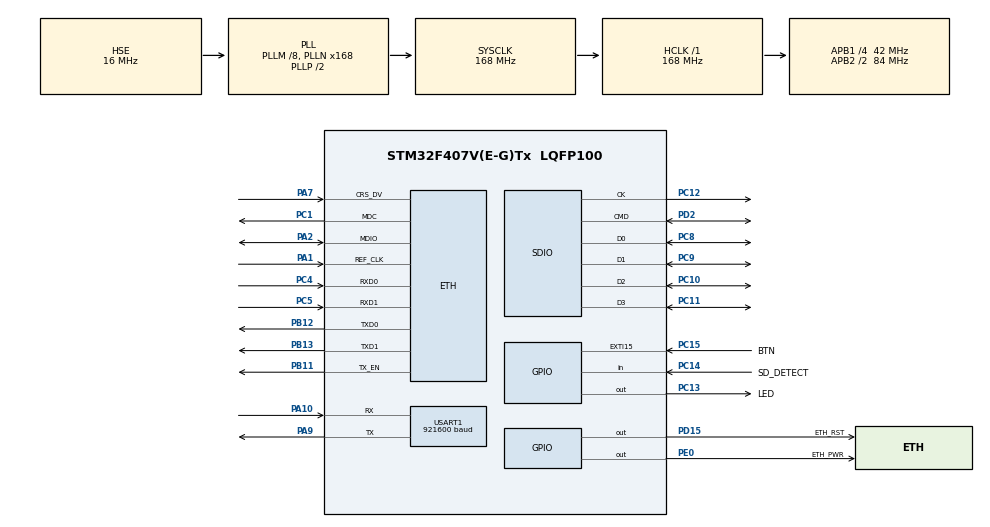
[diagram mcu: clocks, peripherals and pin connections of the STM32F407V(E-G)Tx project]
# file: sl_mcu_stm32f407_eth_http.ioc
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Dma.Request0=SDIO_RX
Dma.Request1=SDIO_TX
Dma.SDIO_RX.0.Direction=DMA_PERIPH_TO_MEMORY
Dma.SDIO_RX.0.FIFOMode=DMA_FIFOMODE_ENABLE
Dma.SDIO_RX.0.FIFOThreshold=DMA_FIFO_THRESHOLD_FULL
Dma.SDIO_RX.0.Instance=DMA2_Stream3
Dma.SDIO_RX.0.MemBurst=DMA_MBURST_INC4
Dma.SDIO_RX.0.MemDataAlignment=DMA_MDATAALIGN_WORD
Dma.SDIO_RX.0.MemInc=DMA_MINC_ENABLE
Dma.SDIO_RX.0.Mode=DMA_PFCTRL
Dma.SDIO_RX.0.PeriphBurst=DMA_PBURST_INC4
Dma.SDIO_RX.0.PeriphDataAlignment=DMA_PDATAALIGN_WORD
Dma.SDIO_RX.0.PeriphInc=DMA_PINC_DISABLE
Dma.SDIO_RX.0.Priority=DMA_PRIORITY_LOW
Dma.SDIO_TX.1.Direction=DMA_MEMORY_TO_PERIPH
Dma.SDIO_TX.1.FIFOMode=DMA_FIFOMODE_ENABLE
Dma.SDIO_TX.1.FIFOThreshold=DMA_FIFO_THRESHOLD_FULL
Dma.SDIO_TX.1.Instance=DMA2_Stream6
Dma.SDIO_TX.1.MemBurst=DMA_MBURST_INC4
Dma.SDIO_TX.1.MemDataAlignment=DMA_MDATAALIGN_WORD
Dma.SDIO_TX.1.MemInc=DMA_MINC_ENABLE
Dma.SDIO_TX.1.Mode=DMA_PFCTRL
Dma.SDIO_TX.1.PeriphBurst=DMA_PBURST_INC4
Dma.SDIO_TX.1.PeriphDataAlignment=DMA_PDATAALIGN_WORD
Dma.SDIO_TX.1.PeriphInc=DMA_PINC_DISABLE
Dma.SDIO_TX.1.Priority=DMA_PRIORITY_LOW
ETH.MediaInterface=HAL_ETH_RMII_MODE
FATFS.BSP.number=1
FATFS.USE_DMA_CODE_SD=1
FATFS._FS_EXFAT=1
FATFS._FS_LOCK=4
FATFS._USE_CHMOD=1
FATFS._USE_EXPAND=1
FATFS._USE_FIND=1
FATFS._USE_FORWARD=1
FATFS._USE_LABEL=1
FATFS._USE_LFN=1
FATFS0.BSP.STBoard=false
FATFS0.BSP.api=Unknown
FATFS0.BSP.instance=PC14-OSC32_IN
FATFS0.BSP.ip=GPIO
FATFS0.BSP.mode=Input
FATFS0.BSP.name=Detect_SDIO
FATFS0.BSP.solution=PC14-OSC32_IN
LWIP.API_LIB_DEBUG=LWIP_DBG_OFF
LWIP.API_MSG_DEBUG=LWIP_DBG_OFF
LWIP.AUTOIP_DEBUG=LWIP_DBG_OFF
LWIP.BSP.number=1
LWIP.DHCP6_DEBUG=LWIP_DBG_OFF
LWIP.DHCP_DEBUG=LWIP_DBG_OFF
LWIP.DNS_DEBUG=LWIP_DBG_OFF
LWIP.ETHARP_DEBUG=LWIP_DBG_OFF
LWIP.HTTPD_DEBUG=LWIP_DBG_ON
LWIP.HTTPD_DEBUG_TIMING=LWIP_DBG_ON
LWIP.HTTPD_ENABLE_HTTPS=0
LWIP.HTTPD_USE_CUSTOM_FSDATA=1
LWIP.ICMP_DEBUG=LWIP_DBG_OFF
LWIP.IGMP_DEBUG=LWIP_DBG_OFF
LWIP.INET_DEBUG=LWIP_DBG_ON
LWIP.IP6_DEBUG=LWIP_DBG_OFF
LWIP.IP_DEBUG=LWIP_DBG_ON
LWIP.IP_REASS_DEBUG=LWIP_DBG_OFF
LWIP.LWIP_DBG_TYPES_ON=LWIP_DBG_OFF
LWIP.LWIP_DNS=1
LWIP.LWIP_HTTPD=1
LWIP.LWIP_HTTPD_CUSTOM_FILES=1
LWIP.LWIP_HTTPD_DYNAMIC_FILE_READ=1
LWIP.LWIP_HTTPD_DYNAMIC_HEADERS=0
LWIP.LWIP_HTTPD_REQ_QUEUELEN=10
LWIP.LWIP_HTTPD_SSI=1
LWIP.LWIP_HTTPD_SSI_INCLUDE_TAG=0
LWIP.LWIP_HTTPD_SUPPORT_EXTSTATUS=1
LWIP.LWIP_HTTPD_SUPPORT_V09=0
LWIP.LWIP_IPV6=0
LWIP.LWIP_NETIF_HOSTNAME=1
LWIP.LWIP_SINGLE_NETIF=1
LWIP.LWIP_TESTMODE=0
LWIP.MDNS_DEBUG=LWIP_DBG_OFF
LWIP.MEMP_DEBUG=LWIP_DBG_OFF
LWIP.MEMP_NUM_TCP_PCB=10
LWIP.MEM_DEBUG=LWIP_DBG_OFF
LWIP.NETIF_DEBUG=LWIP_DBG_OFF
LWIP.PBUF_DEBUG=LWIP_DBG_OFF
LWIP.PPP_DEBUG=LWIP_DBG_OFF
LWIP.RAW_DEBUG=LWIP_DBG_OFF
LWIP.SLIP_DEBUG=LWIP_DBG_OFF
LWIP.SMTP_DEBUG=LWIP_DBG_OFF
LWIP.SNMP_DEBUG=LWIP_DBG_OFF
LWIP.SNMP_MIB_DEBUG=LWIP_DBG_OFF
LWIP.SNTP_DEBUG=LWIP_DBG_OFF
LWIP.SOCKETS_DEBUG=LWIP_DBG_ON
LWIP.SYS_DEBUG=LWIP_DBG_ON
LWIP.TCPIP_DEBUG=LWIP_DBG_ON
LWIP.TCP_CWND_DEBUG=LWIP_DBG_OFF
LWIP.TCP_DEBUG=LWIP_DBG_ON
LWIP.TCP_FR_DEBUG=LWIP_DBG_OFF
LWIP.TCP_INPUT_DEBUG=LWIP_DBG_ON
LWIP.TCP_OUTPUT_DEBUG=LWIP_DBG_OFF
LWIP.TCP_QLEN_DEBUG=LWIP_DBG_OFF
LWIP.TCP_RST_DEBUG=LWIP_DBG_OFF
LWIP.TCP_RTO_DEBUG=LWIP_DBG_OFF
LWIP.TCP_WND_DEBUG=LWIP_DBG_OFF
LWIP.TFTP_DEBUG=LWIP_DBG_OFF
LWIP.TIMERS_DEBUG=LWIP_DBG_OFF
LWIP.UDP_DEBUG=LWIP_DBG_OFF
LWIP.Version=v2.1.2_Cube
LWIP0.BSP.STBoard=false
LWIP0.BSP.api=BSP_COMPONENT_DRIVER
LWIP0.BSP.component=LAN8742
LWIP0.BSP.instance=LAN8742
LWIP0.BSP.name=Driver_PHY
LWIP0.BSP.semaphore=S_LAN8742
LWIP0.BSP.solution=LAN8742
Mcu.Family=STM32F4
Mcu.Name=STM32F407V(E-G)Tx
Mcu.Package=LQFP100
NVIC.DMA2_Stream3_IRQn=true\:0\:0\:false\:false\:true\:false\:true\:true
NVIC.DMA2_Stream6_IRQn=true\:0\:0\:false\:false\:true\:false\:true\:true
NVIC.ETH_IRQn=true\:0\:0\:false\:false\:true\:true\:true\:true
NVIC.EXTI15_10_IRQn=true\:0\:0\:false\:false\:true\:true\:true\:true
NVIC.PriorityGroup=NVIC_PRIORITYGROUP_4
NVIC.SDIO_IRQn=true\:0\:0\:false\:false\:true\:true\:true\:true
PA1.Mode=RMII
PA1.Signal=ETH_REF_CLK
PA10.Mode=Asynchronous
PA10.Signal=USART1_RX
PA13.Mode=Trace_Asynchronous_SW
PA13.Signal=SYS_JTMS-SWDIO
PA14.Mode=Trace_Asynchronous_SW
PA14.Signal=SYS_JTCK-SWCLK
PA2.GPIO_PuPd=GPIO_PULLUP
PA2.Mode=RMII
PA2.Signal=ETH_MDIO
PA7.Mode=RMII
PA7.Signal=ETH_CRS_DV
PA9.Mode=Asynchronous
PA9.Signal=USART1_TX
PB11.Mode=RMII
PB11.Signal=ETH_TX_EN
PB12.Mode=RMII
PB12.Signal=ETH_TXD0
PB13.Mode=RMII
PB13.Signal=ETH_TXD1
PB3.Mode=Trace_Asynchronous_SW
PB3.Signal=SYS_JTDO-SWO
PC1.Mode=RMII
PC1.Signal=ETH_MDC
PC10.Mode=SD_4_bits_Wide_bus
PC10.Signal=SDIO_D2
PC11.Mode=SD_4_bits_Wide_bus
PC11.Signal=SDIO_D3
PC12.Mode=SD_4_bits_Wide_bus
PC12.Signal=SDIO_CK
PC13-ANTI_TAMP.GPIO_Label=LED
PC13-ANTI_TAMP.GPIO_ModeDefaultOutputPP=GPIO_MODE_OUTPUT_OD
PC13-ANTI_TAMP.GPIO_PuPd=GPIO_NOPULL
PC13-ANTI_TAMP.PinState=GPIO_PIN_SET
PC13-ANTI_TAMP.Signal=GPIO_Output
PC14-OSC32_IN.GPIO_Label=SD_DETECT
PC14-OSC32_IN.GPIO_PuPd=GPIO_PULLUP
PC14-OSC32_IN.Signal=GPIO_Input
PC15-OSC32_OUT.GPIO_Label=BTN
PC15-OSC32_OUT.Signal=GPXTI15
PC4.Mode=RMII
PC4.Signal=ETH_RXD0
PC5.Mode=RMII
PC5.Signal=ETH_RXD1
PC8.Mode=SD_4_bits_Wide_bus
PC8.Signal=SDIO_D0
PC9.Mode=SD_4_bits_Wide_bus
PC9.Signal=SDIO_D1
PD15.GPIO_Label=ETH_RST
PD15.Signal=GPIO_Output
PD2.Mode=SD_4_bits_Wide_bus
PD2.Signal=SDIO_CMD
PE0.GPIO_Label=ETH_PWR
PE0.PinState=GPIO_PIN_RESET
PE0.Signal=GPIO_Output
PH0-OSC_IN.Mode=HSE-External-Oscillator
PH0-OSC_IN.Signal=RCC_OSC_IN
PH1-OSC_OUT.Mode=HSE-External-Oscillator
PH1-OSC_OUT.Signal=RCC_OSC_OUT
ProjectManager.HeapSize=0x200
ProjectManager.StackSize=0x400
ProjectManager.TargetToolchain=STM32CubeIDE
RCC.48MHZClocksFreq_Value=48000000
RCC.AHBFreq_Value=168000000
RCC.APB1CLKDivider=RCC_HCLK_DIV4
RCC.APB1Freq_Value=42000000
RCC.APB1TimFreq_Value=84000000
RCC.APB2CLKDivider=RCC_HCLK_DIV2
RCC.APB2Freq_Value=84000000
RCC.APB2TimFreq_Value=168000000
RCC.CortexFreq_Value=168000000
RCC.HCLKFreq_Value=168000000
RCC.HSE_VALUE=16000000
RCC.HSI_VALUE=16000000
RCC.LSE_VALUE=32768
RCC.PLLM=8
RCC.PLLN=168
RCC.PLLQ=7
RCC.PLLSourceVirtual=RCC_PLLSOURCE_HSE
RCC.SYSCLKFreq_VALUE=168000000
RCC.SYSCLKSource=RCC_SYSCLKSOURCE_PLLCLK
RCC.VCOOutputFreq_Value=336000000
SDIO.ClockDiv=1
USART1.BaudRate=921600
USART1.OverSampling=UART_OVERSAMPLING_8
USART1.VirtualMode=VM_ASYNC
VP_FATFS_VS_SDIO.Mode=SDIO
VP_LWIP_VS_Enabled.Mode=Enabled
board=custom

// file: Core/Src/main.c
/* USER CODE BEGIN Header */
/**
 ******************************************************************************
 * @file           : main.c
 * @brief          : Main program body
 ******************************************************************************
 * @attention
 *
 * Copyright (c) 2026 STM32World <lth@stm32world.com>
 * All rights reserved.
 *
 * This software is licensed under terms that can be found in the LICENSE file
 * in the root directory of this software component.
 * If no LICENSE file comes with this software, it is provided AS-IS.
 *
 ******************************************************************************
 */
/* USER CODE END Header */
#include "main.h"
#include "fatfs.h"

/* USER CODE BEGIN Includes */
#include <stdio.h>
#include <string.h>
#include "lwip.h"
#include "lwip/apps/httpd.h"
/* USER CODE END Includes */

SD_HandleTypeDef hsd;
DMA_HandleTypeDef hdma_sdio_rx;
DMA_HandleTypeDef hdma_sdio_tx;

UART_HandleTypeDef huart1;

/* USER CODE BEGIN PV */
const char total_uptime_filename[] = "uptime.dat";
const char tick_filename[] = "tick.txt";
const char big_filename[] = "big.dat";
const char boot_filename[] = "boot.dat";
uint32_t total_uptime;
uint32_t boot_count;
/* USER CODE END PV */

void SystemClock_Config(void);
static void MX_GPIO_Init(void);
static void MX_DMA_Init(void);
static void MX_USART1_UART_Init(void);
static void MX_SDIO_SD_Init(void);

/* USER CODE BEGIN 0 */

// Send printf to uart1
int __io_putchar(int ch) {
    if (ch == '\n') {
        HAL_UART_Transmit(&huart1, (uint8_t*) "\r", 1, HAL_MAX_DELAY);
    }
    if (HAL_UART_Transmit(&huart1, (uint8_t*) &ch, 1, HAL_MAX_DELAY) != HAL_OK) {
        return -1;
    }
    return ch;
}

uint8_t BSP_SD_IsDetected(void)
{
    __IO uint8_t status = SD_PRESENT;

    if (HAL_GPIO_ReadPin(SD_DETECT_GPIO_PORT, SD_DETECT_PIN) != GPIO_PIN_RESET) {
        status = SD_NOT_PRESENT;
    }

    return status;
}

void init_eth_phy() {

    // Power down and reset all
    HAL_GPIO_WritePin(ETH_PWR_GPIO_Port, ETH_PWR_Pin, GPIO_PIN_RESET);
    HAL_GPIO_WritePin(ETH_RST_GPIO_Port, ETH_RST_Pin, GPIO_PIN_RESET);
    HAL_Delay(10);

    // Power PHY up - reset is still low
    HAL_GPIO_WritePin(ETH_PWR_GPIO_Port, ETH_PWR_Pin, GPIO_PIN_SET);

    // Wait 1 ms
    HAL_Delay(1);

    // Drive RST pin high
    HAL_GPIO_WritePin(ETH_RST_GPIO_Port, ETH_RST_Pin, GPIO_PIN_SET);

}

/* USER CODE END 0 */

int main(void)
{

    /* MCU Configuration--------------------------------------------------------*/

    /* Reset of all peripherals, Initializes the Flash interface and the Systick. */
    HAL_Init();

    /* Configure the system clock */
    SystemClock_Config();

    /* Initialize all configured peripherals */
    MX_GPIO_Init();
    MX_DMA_Init();
    MX_USART1_UART_Init();
    MX_SDIO_SD_Init();
    MX_FATFS_Init();
    /* USER CODE BEGIN 2 */

    printf("\n\n\n--------\nStarting Ethernet Test\n");

    printf("SD Card Information:\r\n");
    printf("Block size  : %lu\r\n", hsd.SdCard.BlockSize);
    printf("Block nmbr  : %lu\r\n", hsd.SdCard.BlockNbr);
    printf("Card size   : %lu\r\n", (hsd.SdCard.BlockSize * hsd.SdCard.BlockNbr) / 1000);
    printf("Card version: %lu\r\n", hsd.SdCard.CardVersion);

    init_eth_phy();

    HAL_Delay(2000); // Wait a bit to make sure PHY have negotiated on ethernet

    printf("Initializing LwIP Stack...\n");

    // 3. Manually call the LwIP setup function now that the bus is clear
    MX_LWIP_Init();

    // 4. Force LwIP to treat the link as active
    extern struct netif gnetif;
    netif_set_link_up(&gnetif);
    netif_set_up(&gnetif);

    if (netif_is_up(&gnetif)) {
        printf("LwIP Interface: UP\n");
    } else {
        printf("LwIP Interface: DOWN\n");
    }

    uint32_t wbytes, rbytes;

    if (f_mount(&SDFatFS, (TCHAR const*) SDPath, 0) != FR_OK) {
        printf("Unable to mount disk\r\n");
        Error_Handler();
    } else {
        printf("SD Mounted! Initializing HTTPD Server...\r\n");
        httpd_init(); // Starts listening on Port 80 automatically
    }

    if (f_open(&SDFile, boot_filename, FA_OPEN_EXISTING | FA_READ) == FR_OK) {
        if (f_read(&SDFile, &boot_count, sizeof(boot_count), (void*) &rbytes) == FR_OK) {
            printf("Boot count = %lu\r\n", boot_count);
            f_close(&SDFile);

            ++boot_count;
            if (f_open(&SDFile, boot_filename, FA_OPEN_EXISTING | FA_WRITE) == FR_OK) {
                if (f_write(&SDFile, &boot_count, sizeof(boot_count), (void*) &wbytes) != FR_OK) {
                    printf("Unable to write\r\n");
                }
                f_close(&SDFile);
            } else {
                printf("Unable to open file\r\n");
            }

        } else {
            printf("Unable to read\r\n");
            Error_Handler();
        }
    } else {
        // File did not exist - let's create it
        if (f_open(&SDFile, boot_filename, FA_CREATE_ALWAYS | FA_WRITE) == FR_OK) {
            boot_count = 1;
            if (f_write(&SDFile, &boot_count, sizeof(boot_count), (void*) &wbytes) == FR_OK) {
                printf("File %s created\r\n", boot_filename);
                f_close(&SDFile);
            } else {
                printf("Unable to write\r\n");
                Error_Handler();
            }
        } else {
            printf("Unable to create\r\n");
            Error_Handler();
        }
    }

    if (f_open(&SDFile, total_uptime_filename, FA_OPEN_EXISTING | FA_READ) == FR_OK) {
        if (f_read(&SDFile, &total_uptime, sizeof(total_uptime), (void*) &rbytes) == FR_OK) {
            printf("Total uptime = %lu\r\n", total_uptime);
            f_close(&SDFile);
        } else {
            printf("Unable to read\r\n");
            Error_Handler();
        }
    } else {
        // File did not exist - let's create it
        if (f_open(&SDFile, total_uptime_filename, FA_CREATE_ALWAYS | FA_WRITE) == FR_OK) {
            if (f_write(&SDFile, &total_uptime, sizeof(total_uptime), (void*) &wbytes) == FR_OK) {
                printf("File %s created\r\n", total_uptime_filename);
                f_close(&SDFile);
            } else {
                printf("Unable to write\r\n");
                Error_Handler();
            }
        } else {
            printf("Unable to create\r\n");
            Error_Handler();
        }
    }

    // Create tick file always
    if (f_open(&SDFile, tick_filename, FA_CREATE_ALWAYS | FA_WRITE) == FR_OK) {
        f_close(&SDFile);
    }

    /* USER CODE END 2 */

    /* Infinite loop */
    /* USER CODE BEGIN WHILE */

    uint32_t now = 0, loop_cnt = 0, next_blink = 500, next_tick = 1000;

    while (1) {

        now = uwTick;

        if (now >= next_blink) {
            HAL_GPIO_TogglePin(LED_GPIO_Port, LED_Pin);
            next_blink += 500;
        }

        if (now >= next_tick) {

            ++total_uptime;

            // Extract the IP address bytes from the gnetif structure
            uint8_t ip0 = ip4_addr1_16(netif_ip_addr4(&gnetif));
            uint8_t ip1 = ip4_addr2_16(netif_ip_addr4(&gnetif));
            uint8_t ip2 = ip4_addr3_16(netif_ip_addr4(&gnetif));
            uint8_t ip3 = ip4_addr4_16(netif_ip_addr4(&gnetif));

            char s[128];

            sprintf(s, "Tick %lu (loop = %lu total = %lu IP = %d.%d.%d.%d)\r\n", now / 1000, loop_cnt, total_uptime, ip0, ip1, ip2, ip3);

            printf("%s", s);

            // Write tick line to file
            if (f_open(&SDFile, tick_filename, FA_OPEN_APPEND | FA_WRITE) == FR_OK) {
                if (f_write(&SDFile, &s, strlen(s) + 1, (void*) &wbytes) != FR_OK) {
                    printf("Unable to write\r\n");
                }
                f_close(&SDFile);
            } else {
                printf("Unable to open tick file\r\n");
            }

            // Update the total uptime file
            if (f_open(&SDFile, total_uptime_filename, FA_OPEN_EXISTING | FA_WRITE) == FR_OK) {
                if (f_write(&SDFile, &total_uptime, sizeof(total_uptime), (void*) &wbytes) != FR_OK) {
                    printf("Unable to write\r\n");
                }
                f_close(&SDFile);
            } else {
                printf("Unable to open file\r\n");
            }

            loop_cnt = 0;
            next_tick = now + 1000;

        }

        MX_LWIP_Process();

        ++loop_cnt;

        /* USER CODE END WHILE */

    }
}

void SystemClock_Config(void)
{
    RCC_OscInitTypeDef RCC_OscInitStruct = { 0 };
    RCC_ClkInitTypeDef RCC_ClkInitStruct = { 0 };

    /** Configure the main internal regulator output voltage
     */
    __HAL_RCC_PWR_CLK_ENABLE();
    __HAL_PWR_VOLTAGESCALING_CONFIG(PWR_REGULATOR_VOLTAGE_SCALE1);

    /** Initializes the RCC Oscillators according to the specified parameters
     * in the RCC_OscInitTypeDef structure.
     */
    RCC_OscInitStruct.OscillatorType = RCC_OSCILLATORTYPE_HSE;
    RCC_OscInitStruct.HSEState = RCC_HSE_ON;
    RCC_OscInitStruct.PLL.PLLState = RCC_PLL_ON;
    RCC_OscInitStruct.PLL.PLLSource = RCC_PLLSOURCE_HSE;
    RCC_OscInitStruct.PLL.PLLM = 8;
    RCC_OscInitStruct.PLL.PLLN = 168;
    RCC_OscInitStruct.PLL.PLLP = RCC_PLLP_DIV2;
    RCC_OscInitStruct.PLL.PLLQ = 7;
    if (HAL_RCC_OscConfig(&RCC_OscInitStruct) != HAL_OK)
            {
        Error_Handler();
    }

    /** Initializes the CPU, AHB and APB buses clocks
     */
    RCC_ClkInitStruct.ClockType = RCC_CLOCKTYPE_HCLK | RCC_CLOCKTYPE_SYSCLK
            | RCC_CLOCKTYPE_PCLK1 | RCC_CLOCKTYPE_PCLK2;
    RCC_ClkInitStruct.SYSCLKSource = RCC_SYSCLKSOURCE_PLLCLK;
    RCC_ClkInitStruct.AHBCLKDivider = RCC_SYSCLK_DIV1;
    RCC_ClkInitStruct.APB1CLKDivider = RCC_HCLK_DIV4;
    RCC_ClkInitStruct.APB2CLKDivider = RCC_HCLK_DIV2;

    if (HAL_RCC_ClockConfig(&RCC_ClkInitStruct, FLASH_LATENCY_5) != HAL_OK)
            {
        Error_Handler();
    }
}

static void MX_SDIO_SD_Init(void)
{

    hsd.Instance = SDIO;
    hsd.Init.ClockEdge = SDIO_CLOCK_EDGE_RISING;
    hsd.Init.ClockBypass = SDIO_CLOCK_BYPASS_DISABLE;
    hsd.Init.ClockPowerSave = SDIO_CLOCK_POWER_SAVE_DISABLE;
    hsd.Init.BusWide = SDIO_BUS_WIDE_1B;
    hsd.Init.HardwareFlowControl = SDIO_HARDWARE_FLOW_CONTROL_DISABLE;
    hsd.Init.ClockDiv = 1;
    /* USER CODE BEGIN SDIO_Init 2 */

    // First init with 1B bus - SD card will not initialize with 4 bits
    hsd.Init.BusWide = SDIO_BUS_WIDE_1B;
    if (HAL_SD_Init(&hsd) != HAL_OK) {
        Error_Handler();
    }

    // Now we can switch to 4 bit mode
    if (HAL_SD_ConfigWideBusOperation(&hsd, SDIO_BUS_WIDE_4B) != HAL_OK) {
        Error_Handler();
    }

    /* USER CODE END SDIO_Init 2 */

}

static void MX_USART1_UART_Init(void)
{

    huart1.Instance = USART1;
    huart1.Init.BaudRate = 921600;
    huart1.Init.WordLength = UART_WORDLENGTH_8B;
    huart1.Init.StopBits = UART_STOPBITS_1;
    huart1.Init.Parity = UART_PARITY_NONE;
    huart1.Init.Mode = UART_MODE_TX_RX;
    huart1.Init.HwFlowCtl = UART_HWCONTROL_NONE;
    huart1.Init.OverSampling = UART_OVERSAMPLING_8;
    if (HAL_UART_Init(&huart1) != HAL_OK)
            {
        Error_Handler();
    }

}

static void MX_DMA_Init(void)
{

    /* DMA controller clock enable */
    __HAL_RCC_DMA2_CLK_ENABLE();

    /* DMA interrupt init */
    /* DMA2_Stream3_IRQn interrupt configuration */
    HAL_NVIC_SetPriority(DMA2_Stream3_IRQn, 0, 0);
    HAL_NVIC_EnableIRQ(DMA2_Stream3_IRQn);
    /* DMA2_Stream6_IRQn interrupt configuration */
    HAL_NVIC_SetPriority(DMA2_Stream6_IRQn, 0, 0);
    HAL_NVIC_EnableIRQ(DMA2_Stream6_IRQn);

}

static void MX_GPIO_Init(void)
{
    GPIO_InitTypeDef GPIO_InitStruct = { 0 };

    /* GPIO Ports Clock Enable */
    __HAL_RCC_GPIOC_CLK_ENABLE();
    __HAL_RCC_GPIOH_CLK_ENABLE();
    __HAL_RCC_GPIOA_CLK_ENABLE();
    __HAL_RCC_GPIOB_CLK_ENABLE();
    __HAL_RCC_GPIOD_CLK_ENABLE();
    __HAL_RCC_GPIOE_CLK_ENABLE();

    /*Configure GPIO pin Output Level */
    HAL_GPIO_WritePin(LED_GPIO_Port, LED_Pin, GPIO_PIN_SET);

    /*Configure GPIO pin Output Level */
    HAL_GPIO_WritePin(ETH_RST_GPIO_Port, ETH_RST_Pin, GPIO_PIN_RESET);

    /*Configure GPIO pin Output Level */
    HAL_GPIO_WritePin(ETH_PWR_GPIO_Port, ETH_PWR_Pin, GPIO_PIN_RESET);

    /*Configure GPIO pin : LED_Pin */
    GPIO_InitStruct.Pin = LED_Pin;
    GPIO_InitStruct.Mode = GPIO_MODE_OUTPUT_OD;
    GPIO_InitStruct.Pull = GPIO_NOPULL;
    GPIO_InitStruct.Speed = GPIO_SPEED_FREQ_LOW;
    HAL_GPIO_Init(LED_GPIO_Port, &GPIO_InitStruct);

    /*Configure GPIO pin : SD_DETECT_Pin */
    GPIO_InitStruct.Pin = SD_DETECT_Pin;
    GPIO_InitStruct.Mode = GPIO_MODE_INPUT;
    GPIO_InitStruct.Pull = GPIO_PULLUP;
    HAL_GPIO_Init(SD_DETECT_GPIO_Port, &GPIO_InitStruct);

    /*Configure GPIO pin : BTN_Pin */
    GPIO_InitStruct.Pin = BTN_Pin;
    GPIO_InitStruct.Mode = GPIO_MODE_IT_RISING;
    GPIO_InitStruct.Pull = GPIO_NOPULL;
    HAL_GPIO_Init(BTN_GPIO_Port, &GPIO_InitStruct);

    /*Configure GPIO pin : ETH_RST_Pin */
    GPIO_InitStruct.Pin = ETH_RST_Pin;
    GPIO_InitStruct.Mode = GPIO_MODE_OUTPUT_PP;
    GPIO_InitStruct.Pull = GPIO_NOPULL;
    GPIO_InitStruct.Speed = GPIO_SPEED_FREQ_LOW;
    HAL_GPIO_Init(ETH_RST_GPIO_Port, &GPIO_InitStruct);

    /*Configure GPIO pin : ETH_PWR_Pin */
    GPIO_InitStruct.Pin = ETH_PWR_Pin;
    GPIO_InitStruct.Mode = GPIO_MODE_OUTPUT_PP;
    GPIO_InitStruct.Pull = GPIO_NOPULL;
    GPIO_InitStruct.Speed = GPIO_SPEED_FREQ_LOW;
    HAL_GPIO_Init(ETH_PWR_GPIO_Port, &GPIO_InitStruct);

    /* EXTI interrupt init*/
    HAL_NVIC_SetPriority(EXTI15_10_IRQn, 0, 0);
    HAL_NVIC_EnableIRQ(EXTI15_10_IRQn);

}

void Error_Handler(void)
{
    __disable_irq();
    while (1)
    {
    }
}
